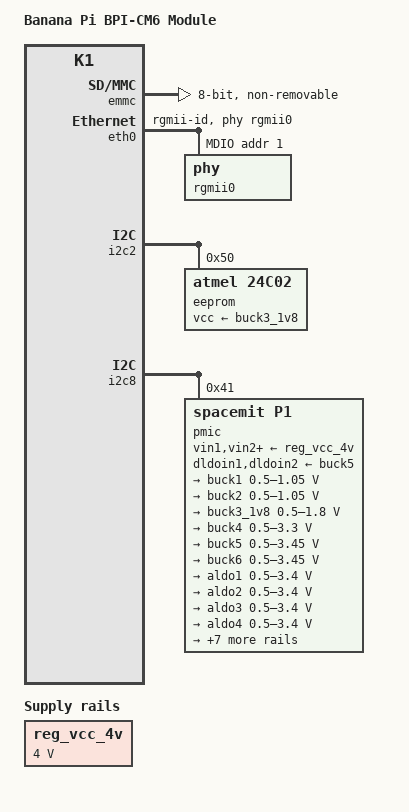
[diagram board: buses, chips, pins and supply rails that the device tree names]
// SPDX-License-Identifier: GPL-2.0 OR MIT
/*
 * Copyright (C) 2026 Junhui Liu <junhui.liu@pigmoral.tech>
 */

#include "k1.dtsi"
#include "k1-pinctrl.dtsi"

/ {
	model = "Banana Pi BPI-CM6 Module";
	compatible = "bananapi,bpi-cm6", "spacemit,k1";

	aliases {
		i2c2 = &i2c2;
		i2c8 = &i2c8;
	};

	reg_vcc_4v: regulator-vcc-4v {
		compatible = "regulator-fixed";
		regulator-name = "VCC4V0_SYS";
		regulator-min-microvolt = <4000000>;
		regulator-max-microvolt = <4000000>;
		regulator-boot-on;
		regulator-always-on;
	};
};

&emmc {
	bus-width = <8>;
	mmc-hs400-1_8v;
	mmc-hs400-enhanced-strobe;
	non-removable;
	no-sd;
	no-sdio;
	status = "okay";
};

&eth0 {
	nvmem-cells = <&mac_address 0>;
	nvmem-cell-names = "mac-address";
	phy-handle = <&rgmii0>;
	phy-mode = "rgmii-id";
	pinctrl-names = "default";
	pinctrl-0 = <&gmac0_cfg>;
	rx-internal-delay-ps = <0>;
	tx-internal-delay-ps = <0>;

	mdio-bus {
		#address-cells = <0x1>;
		#size-cells = <0x0>;

		reset-gpios = <&gpio K1_GPIO(45) GPIO_ACTIVE_LOW>;
		reset-delay-us = <10000>;
		reset-post-delay-us = <100000>;

		rgmii0: phy@1 {
			reg = <0x1>;
		};
	};
};

&pdma {
	status = "okay";
};

&i2c2 {
	pinctrl-names = "default";
	pinctrl-0 = <&i2c2_0_cfg>;
	status = "okay";

	eeprom@50 {
		compatible = "atmel,24c02";
		reg = <0x50>;
		vcc-supply = <&buck3_1v8>;
		pagesize = <16>;
		read-only;
		size = <256>;

		nvmem-layout {
			compatible = "onie,tlv-layout";

			mac_address: mac-address {
				#nvmem-cell-cells = <1>;
			};

			num-macs {
			};

			serial-number {
			};
		};
	};
};

&i2c8 {
	pinctrl-names = "default";
	pinctrl-0 = <&i2c8_cfg>;
	status = "okay";

	pmic@41 {
		compatible = "spacemit,p1";
		reg = <0x41>;
		interrupts = <64>;
		vin1-supply = <&reg_vcc_4v>;
		vin2-supply = <&reg_vcc_4v>;
		vin3-supply = <&reg_vcc_4v>;
		vin4-supply = <&reg_vcc_4v>;
		vin5-supply = <&reg_vcc_4v>;
		vin6-supply = <&reg_vcc_4v>;
		aldoin-supply = <&reg_vcc_4v>;
		dldoin1-supply = <&buck5>;
		dldoin2-supply = <&buck5>;

		regulators {
			buck1 {
				regulator-min-microvolt = <500000>;
				regulator-max-microvolt = <1050000>;
				regulator-ramp-delay = <5000>;
				regulator-always-on;
			};

			buck2 {
				regulator-min-microvolt = <500000>;
				regulator-max-microvolt = <1050000>;
				regulator-ramp-delay = <5000>;
				regulator-always-on;
			};

			buck3_1v8: buck3 {
				regulator-min-microvolt = <500000>;
				regulator-max-microvolt = <1800000>;
				regulator-ramp-delay = <5000>;
				regulator-always-on;
			};

			buck4 {
				regulator-min-microvolt = <500000>;
				regulator-max-microvolt = <3300000>;
				regulator-ramp-delay = <5000>;
				regulator-always-on;
			};

			buck5: buck5 {
				regulator-min-microvolt = <500000>;
				regulator-max-microvolt = <3450000>;
				regulator-ramp-delay = <5000>;
				regulator-always-on;
			};

			buck6 {
				regulator-min-microvolt = <500000>;
				regulator-max-microvolt = <3450000>;
				regulator-ramp-delay = <5000>;
				regulator-always-on;
			};

			aldo1: aldo1 {
				regulator-min-microvolt = <500000>;
				regulator-max-microvolt = <3400000>;
				regulator-boot-on;
			};

			aldo2 {
				regulator-min-microvolt = <500000>;
				regulator-max-microvolt = <3400000>;
			};

			aldo3 {
				regulator-min-microvolt = <500000>;
				regulator-max-microvolt = <3400000>;
			};

			aldo4 {
				regulator-min-microvolt = <500000>;
				regulator-max-microvolt = <3400000>;
			};

			dldo1 {
				regulator-min-microvolt = <500000>;
				regulator-max-microvolt = <3400000>;
				regulator-boot-on;
			};

			dldo2 {
				regulator-min-microvolt = <500000>;
				regulator-max-microvolt = <3400000>;
			};

			dldo3 {
				regulator-min-microvolt = <500000>;
				regulator-max-microvolt = <3400000>;
			};

			dldo4 {
				regulator-min-microvolt = <500000>;
				regulator-max-microvolt = <3400000>;
				regulator-always-on;
			};

			dldo5 {
				regulator-min-microvolt = <500000>;
				regulator-max-microvolt = <3400000>;
			};

			dldo6 {
				regulator-min-microvolt = <500000>;
				regulator-max-microvolt = <3400000>;
				regulator-always-on;
			};

			dldo7 {
				regulator-min-microvolt = <500000>;
				regulator-max-microvolt = <3400000>;
			};
		};
	};
};
